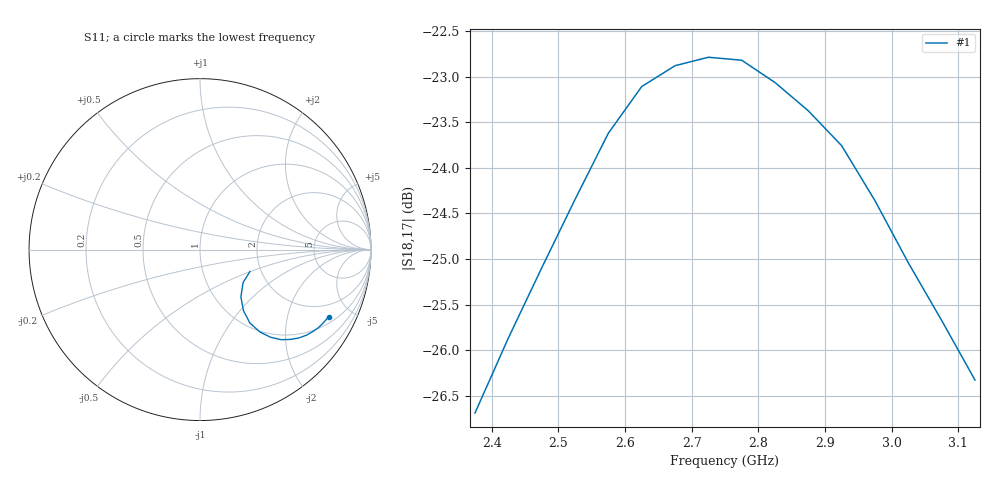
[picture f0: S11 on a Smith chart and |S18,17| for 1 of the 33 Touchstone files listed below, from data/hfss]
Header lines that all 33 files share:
! Exported from HFSS-IE 2016.2.0
! Variables:
! Terminal data exported
! Port[1] = port1_T1
! Port[2] = port1_T2
! Port[3] = port1_T3
! Port[4] = port1_T4
! Port[5] = port1_T5
! Port[6] = port1_T6
! Port[7] = port1_T7
! Port[8] = port1_T8
! Port[9] = port1_T9
! Port[10] = port1_T10
! Port[11] = port1_T11
! Port[12] = port1_T12
! Port[13] = port1_T13
! Port[14] = port1_T14
! Port[15] = port1_T15
! Port[16] = port1_T16
! Port[17] = port1_T17
! Port[18] = port1_T18
! Port[19] = port1_T19
# GHZ S MA R 50.000000
Fixed: $AUT_phi = 0deg, AUT_phi = 0deg, aut_length = 13.625cm, dipole_length = 4.91cm, port_gap = 0.082cm, wire_rad = 0.082cm
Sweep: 2.375 GHz to 3.125 GHz
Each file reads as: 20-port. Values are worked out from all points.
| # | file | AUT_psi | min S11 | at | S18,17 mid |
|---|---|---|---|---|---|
| 1 | sweep_redesign_mf_rot00_psi000.00.s20p | 0deg | -10.0 dB | 3.075 GHz | -22.8 dB at 2.775 GHz |
| 2 | sweep_redesign_mf_rot01_psi011.25.s20p | 11.25deg | -10.0 dB | 3.075 GHz | -22.8 dB at 2.775 GHz |
| 3 | sweep_redesign_mf_rot02_psi022.50.s20p | 22.5deg | -10.0 dB | 3.075 GHz | -22.8 dB at 2.775 GHz |
| 4 | sweep_redesign_mf_rot03_psi033.75.s20p | 33.75deg | -10.0 dB | 3.075 GHz | -22.8 dB at 2.775 GHz |
| 5 | sweep_redesign_mf_rot04_psi045.00.s20p | 45deg | -10.0 dB | 3.075 GHz | -22.8 dB at 2.775 GHz |
| 6 | sweep_redesign_mf_rot05_psi056.25.s20p | 56.25deg | -10.0 dB | 3.075 GHz | -22.8 dB at 2.775 GHz |
| 7 | sweep_redesign_mf_rot06_psi067.50.s20p | 67.5deg | -10.0 dB | 3.075 GHz | -22.8 dB at 2.775 GHz |
| 8 | sweep_redesign_mf_rot07_psi078.75.s20p | 78.75deg | -10.0 dB | 3.075 GHz | -22.8 dB at 2.775 GHz |
| 9 | sweep_redesign_mf_rot08_psi090.00.s20p | 90deg | -10.0 dB | 3.075 GHz | -22.8 dB at 2.775 GHz |
| 10 | sweep_redesign_mf_rot09_psi101.25.s20p | 101.25deg | -10.0 dB | 3.075 GHz | -22.8 dB at 2.775 GHz |
| 11 | sweep_redesign_mf_rot10_psi112.50.s20p | 112.5deg | -10.0 dB | 3.075 GHz | -22.8 dB at 2.775 GHz |
| 12 | sweep_redesign_mf_rot11_psi123.75.s20p | 123.75deg | -10.0 dB | 3.075 GHz | -22.8 dB at 2.775 GHz |
| 13 | sweep_redesign_mf_rot12_psi135.00.s20p | 135deg | -10.0 dB | 3.075 GHz | -22.8 dB at 2.775 GHz |
| 14 | sweep_redesign_mf_rot13_psi146.25.s20p | 146.25deg | -10.0 dB | 3.075 GHz | -22.8 dB at 2.775 GHz |
| 15 | sweep_redesign_mf_rot14_psi157.50.s20p | 157.5deg | -10.0 dB | 3.075 GHz | -22.8 dB at 2.775 GHz |
| 16 | sweep_redesign_mf_rot15_psi168.75.s20p | 168.75deg | -10.0 dB | 3.075 GHz | -22.8 dB at 2.775 GHz |
| 17 | sweep_redesign_mf_rot16_psi180.00.s20p | 180deg | -10.0 dB | 3.075 GHz | -22.8 dB at 2.775 GHz |
| 18 | sweep_redesign_mf_rot17_psi191.25.s20p | 191.25deg | -10.0 dB | 3.075 GHz | -22.8 dB at 2.775 GHz |
| 19 | sweep_redesign_mf_rot18_psi202.50.s20p | 202.5deg | -10.0 dB | 3.075 GHz | -22.8 dB at 2.775 GHz |
| 20 | sweep_redesign_mf_rot19_psi213.75.s20p | 213.75deg | -10.0 dB | 3.075 GHz | -22.8 dB at 2.775 GHz |
| 21 | sweep_redesign_mf_rot20_psi225.00.s20p | 225deg | -10.0 dB | 3.075 GHz | -22.8 dB at 2.775 GHz |
| 22 | sweep_redesign_mf_rot21_psi236.25.s20p | 236.25deg | -10.0 dB | 3.075 GHz | -22.8 dB at 2.775 GHz |
| 23 | sweep_redesign_mf_rot22_psi247.50.s20p | 247.5deg | -10.0 dB | 3.075 GHz | -22.8 dB at 2.775 GHz |
| 24 | sweep_redesign_mf_rot23_psi258.75.s20p | 258.75deg | -10.0 dB | 3.075 GHz | -22.8 dB at 2.775 GHz |
| 25 | sweep_redesign_mf_rot24_psi270.00.s20p | 270deg | -10.0 dB | 3.075 GHz | -22.8 dB at 2.775 GHz |
| 26 | sweep_redesign_mf_rot25_psi281.25.s20p | 281.25deg | -10.0 dB | 3.075 GHz | -22.8 dB at 2.775 GHz |
| 27 | sweep_redesign_mf_rot26_psi292.50.s20p | 292.5deg | -10.0 dB | 3.075 GHz | -22.8 dB at 2.775 GHz |
| 28 | sweep_redesign_mf_rot27_psi303.75.s20p | 303.75deg | -10.0 dB | 3.075 GHz | -22.8 dB at 2.775 GHz |
| 29 | sweep_redesign_mf_rot28_psi315.00.s20p | 315deg | -10.0 dB | 3.075 GHz | -22.8 dB at 2.775 GHz |
| 30 | sweep_redesign_mf_rot29_psi326.25.s20p | 326.25deg | -10.0 dB | 3.075 GHz | -22.8 dB at 2.775 GHz |
| 31 | sweep_redesign_mf_rot30_psi337.50.s20p | 337.5deg | -10.0 dB | 3.075 GHz | -22.8 dB at 2.775 GHz |
| 32 | sweep_redesign_mf_rot31_psi348.75.s20p | 348.75deg | -10.0 dB | 3.075 GHz | -22.8 dB at 2.775 GHz |
| 33 | sweep_reference_rot00_psi000.00.s20p | 0deg | -10.0 dB | 3.075 GHz | -22.8 dB at 2.775 GHz |
